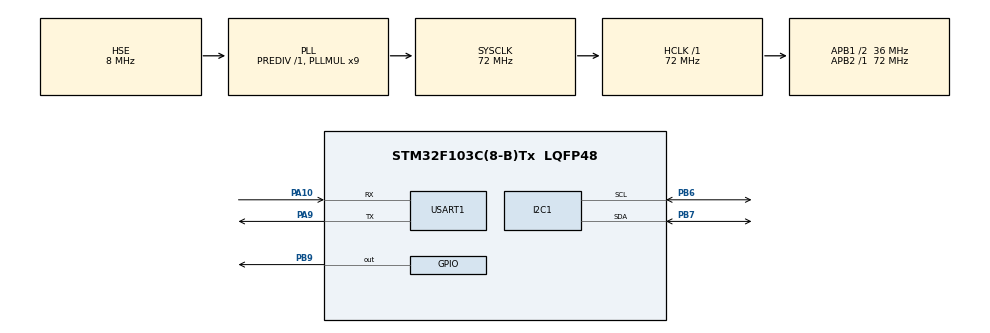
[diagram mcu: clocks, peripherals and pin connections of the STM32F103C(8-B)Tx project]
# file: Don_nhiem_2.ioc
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Mcu.Family=STM32F1
Mcu.Name=STM32F103C(8-B)Tx
Mcu.Package=LQFP48
NVIC.PriorityGroup=NVIC_PRIORITYGROUP_4
NVIC.USART1_IRQn=true\:0\:0\:false\:false\:true\:true\:true\:true
PA10.Mode=Asynchronous
PA10.Signal=USART1_RX
PA13.Mode=Serial_Wire
PA13.Signal=SYS_JTMS-SWDIO
PA14.Mode=Serial_Wire
PA14.Signal=SYS_JTCK-SWCLK
PA9.Mode=Asynchronous
PA9.Signal=USART1_TX
PB6.Mode=I2C
PB6.Signal=I2C1_SCL
PB7.Mode=I2C
PB7.Signal=I2C1_SDA
PB9.Signal=GPIO_Output
PD0-OSC_IN.Mode=HSE-External-Oscillator
PD0-OSC_IN.Signal=RCC_OSC_IN
PD1-OSC_OUT.Mode=HSE-External-Oscillator
PD1-OSC_OUT.Signal=RCC_OSC_OUT
ProjectManager.HeapSize=0x200
ProjectManager.StackSize=0x400
ProjectManager.TargetToolchain=STM32CubeIDE
RCC.AHBFreq_Value=72000000
RCC.APB1CLKDivider=RCC_HCLK_DIV2
RCC.APB1Freq_Value=36000000
RCC.APB1TimFreq_Value=72000000
RCC.APB2Freq_Value=72000000
RCC.APB2TimFreq_Value=72000000
RCC.HCLKFreq_Value=72000000
RCC.PLLMUL=RCC_PLL_MUL9
RCC.PLLSourceVirtual=RCC_PLLSOURCE_HSE
RCC.SYSCLKFreq_VALUE=72000000
RCC.SYSCLKSource=RCC_SYSCLKSOURCE_PLLCLK
RCC.USBFreq_Value=72000000
TIM1.Prescaler=71
USART1.VirtualMode=VM_ASYNC
VP_TIM1_VS_ClockSourceINT.Mode=Internal
board=custom

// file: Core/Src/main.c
/* USER CODE BEGIN Header */
/**
  ******************************************************************************
  * @file           : main.c
  * @brief          : Main program body
  ******************************************************************************
  * @attention
  *
  * Copyright (c) 2025 STMicroelectronics.
  * All rights reserved.
  *
  * This software is licensed under terms that can be found in the LICENSE file
  * in the root directory of this software component.
  * If no LICENSE file comes with this software, it is provided AS-IS.
  *
  ******************************************************************************
  */
/* USER CODE END Header */
#include "main.h"
#include "ssd1306.h"
#include "fonts.h"
#include "stdio.h"

/* USER CODE BEGIN Includes */
char u8_RxBuff[20];
uint8_t u8_RxData;
uint8_t u8_TxBuff[20];
uint8_t _rxIndex;
uint16_t Tx_FLag = 0;
/* USER CODE END Includes */

I2C_HandleTypeDef hi2c1;

TIM_HandleTypeDef htim1;

UART_HandleTypeDef huart1;

void SystemClock_Config(void);
static void MX_GPIO_Init(void);
static void MX_I2C1_Init(void);
static void MX_USART1_UART_Init(void);
static void MX_TIM1_Init(void);

/* USER CODE BEGIN 0 */

#define DHT11_PORT GPIOB
#define DHT11_PIN GPIO_PIN_9
uint8_t RHI, RHD, TCI, TCD, SUM;
uint32_t pMillis, cMillis;
float temp = 0;
float humi = 0;

char strCopy[20];

void microDelay (uint16_t delay)
{
  __HAL_TIM_SET_COUNTER(&htim1, 0);
  while (__HAL_TIM_GET_COUNTER(&htim1) < delay);
}

uint8_t DHT11_Start (void)
{
  uint8_t Response = 0;
  GPIO_InitTypeDef GPIO_InitStructPrivate = {0};
  GPIO_InitStructPrivate.Pin = DHT11_PIN;
  GPIO_InitStructPrivate.Mode = GPIO_MODE_OUTPUT_PP;
  GPIO_InitStructPrivate.Speed = GPIO_SPEED_FREQ_LOW;
  GPIO_InitStructPrivate.Pull = GPIO_NOPULL;
  HAL_GPIO_Init(DHT11_PORT, &GPIO_InitStructPrivate); // set the pin as output
  HAL_GPIO_WritePin (DHT11_PORT, DHT11_PIN, 0);   // pull the pin low
  HAL_Delay(20);   // wait for 20ms
  HAL_GPIO_WritePin (DHT11_PORT, DHT11_PIN, 1);   // pull the pin high
  microDelay (30);   // wait for 30us
  GPIO_InitStructPrivate.Mode = GPIO_MODE_INPUT;
  GPIO_InitStructPrivate.Pull = GPIO_PULLUP;
  HAL_GPIO_Init(DHT11_PORT, &GPIO_InitStructPrivate); // set the pin as input
  microDelay (40);
  if (!(HAL_GPIO_ReadPin (DHT11_PORT, DHT11_PIN)))
  {
    microDelay (80);
    if ((HAL_GPIO_ReadPin (DHT11_PORT, DHT11_PIN))) Response = 1;
  }
  pMillis = HAL_GetTick();
  cMillis = HAL_GetTick();
  while ((HAL_GPIO_ReadPin (DHT11_PORT, DHT11_PIN)) && pMillis + 2 > cMillis)
  {
    cMillis = HAL_GetTick();
  }
  return Response;
}

uint8_t DHT11_Read (void)
{
  uint8_t a,b;
  for (a=0;a<8;a++)
  {
    pMillis = HAL_GetTick();
    cMillis = HAL_GetTick();
    while (!(HAL_GPIO_ReadPin (DHT11_PORT, DHT11_PIN)) && pMillis + 2 > cMillis)
    {  // wait for the pin to go high
      cMillis = HAL_GetTick();
    }
    microDelay (40);   // wait for 40 us
    if (!(HAL_GPIO_ReadPin (DHT11_PORT, DHT11_PIN)))   // if the pin is low
      b&= ~(1<<(7-a));
    else
      b|= (1<<(7-a));
    pMillis = HAL_GetTick();
    cMillis = HAL_GetTick();
    while ((HAL_GPIO_ReadPin (DHT11_PORT, DHT11_PIN)) && pMillis + 2 > cMillis)
    {  // wait for the pin to go low
      cMillis = HAL_GetTick();
    }
  }
  return b;
}
void DO_NHIET_DO(void)
{
	 if(DHT11_Start())
		      {
		        RHI = DHT11_Read(); // Relative humidity integral
		        RHD = DHT11_Read(); // Relative humidity decimal
		        TCI = DHT11_Read(); // Celsius integral
		        TCD = DHT11_Read(); // Celsius decimal
		        SUM = DHT11_Read(); // Check sum
		        if (RHI + RHD + TCI + TCD == SUM)
		        {

		         temp = (float)TCI + (float)(TCD/10.0);

}
		      }
}

void DO_DO_AM(void)
{
	 if(DHT11_Start())
		      {
		        RHI = DHT11_Read(); // Relative humidity integral
		        RHD = DHT11_Read(); // Relative humidity decimal
		        TCI = DHT11_Read(); // Celsius integral
		        TCD = DHT11_Read(); // Celsius decimal
		        SUM = DHT11_Read(); // Check sum
		       if (RHI + RHD + TCI + TCD == SUM)
		       		        {
		          humi = (float)RHI + (float)(RHD/10.0);
}
		      }
}
void HIEN_THI_OLED()
{
	              SSD1306_Clear();
	              sprintf(strCopy,"TEMP :%.1f C  ", temp);
		          SSD1306_GotoXY (0, 0);
		          SSD1306_Puts (strCopy, &Font_7x10, 1);
		          sprintf(strCopy,"HUMI :%.1f %%  ",humi);
		          SSD1306_GotoXY (0, 30);
		          SSD1306_Puts (strCopy, &Font_7x10, 1);
		          SSD1306_UpdateScreen();
}
void TRUYEN_UART()
{
    char buffer[100];

    snprintf(buffer, sizeof(buffer), "Temperature: %.1f C, Humidity: %.1f %%\r\n", temp,humi);

    if (HAL_UART_Transmit(&huart1, (uint8_t*)buffer, strlen(buffer), HAL_MAX_DELAY) != HAL_OK)
    {

        Error_Handler();
    }
}

void HAL_UART_RxCpltCallback(UART_HandleTypeDef *huart)
{
    if (huart->Instance == USART1)
    {
        if (u8_RxData != 13)
        {
           u8_RxBuff[_rxIndex++] = u8_RxData;
        }
        else if(u8_RxData == 13)
        {
        	 u8_RxBuff[_rxIndex] = '\0';
            Tx_FLag = 1;
            _rxIndex = 0;
        }
        HAL_UART_Receive_IT(&huart1, &u8_RxData, 1);
    }
}
/* USER CODE END 0 */

int main(void)
{
//	DHT11_Start ();

  /* MCU Configuration--------------------------------------------------------*/

  /* Reset of all peripherals, Initializes the Flash interface and the Systick. */
  HAL_Init();

  /* Configure the system clock */
  SystemClock_Config();

  /* Initialize all configured peripherals */
  MX_GPIO_Init();
  MX_I2C1_Init();
  MX_USART1_UART_Init();
  MX_TIM1_Init();
  /* USER CODE BEGIN 2 */
  HAL_TIM_Base_Start(&htim1);
      SSD1306_Init();

  HAL_UART_Transmit(&huart1, u8_TxBuff, sizeof(u8_TxBuff),100);
  HAL_UART_Receive_IT(&huart1, &u8_RxData,1);

  /* USER CODE END 2 */

  /* Infinite loop */
  /* USER CODE BEGIN WHILE */

  DO_NHIET_DO();
  DO_DO_AM();

  while (1)
  {
    /* USER CODE END WHILE */
	  if (Tx_FLag)
	  	         {
		  if (strcmp(u8_RxBuff, "TEMP") == 0) // Lệnh đo nhiệt độ
		          {
		              DO_NHIET_DO(); // Đọc nhiệt độ

		          }
		          else if (strcmp(u8_RxBuff, "HUMI") == 0) // Lệnh đo độ ẩm
		          {
		              DO_DO_AM(); // Đọc độ ẩm
		            ;
		          }
		          else if (strcmp(u8_RxBuff, "OLED") == 0) // Lệnh đo độ ẩm
		          {
		        	  HIEN_THI_OLED();

		          }
		          else if (strcmp(u8_RxBuff, "UART") == 0) // Lệnh đo độ ẩm
		          {
		        	  TRUYEN_UART(); // Gửi độ ẩm qua UART
		          }
		          else // Lệnh không hợp lệ
		          {
		              char invalidMsg[] = "Invalid Command\r\n";
		              HAL_UART_Transmit(&huart1, (uint8_t*)invalidMsg, strlen(invalidMsg), HAL_MAX_DELAY);
		          }
		        Tx_FLag = 0; // Reset cờ lệnh
	  	     }

}
}
void SystemClock_Config(void)
{
  RCC_OscInitTypeDef RCC_OscInitStruct = {0};
  RCC_ClkInitTypeDef RCC_ClkInitStruct = {0};

  /** Initializes the RCC Oscillators according to the specified parameters
  * in the RCC_OscInitTypeDef structure.
  */
  RCC_OscInitStruct.OscillatorType = RCC_OSCILLATORTYPE_HSE;
  RCC_OscInitStruct.HSEState = RCC_HSE_ON;
  RCC_OscInitStruct.HSEPredivValue = RCC_HSE_PREDIV_DIV1;
  RCC_OscInitStruct.HSIState = RCC_HSI_ON;
  RCC_OscInitStruct.PLL.PLLState = RCC_PLL_ON;
  RCC_OscInitStruct.PLL.PLLSource = RCC_PLLSOURCE_HSE;
  RCC_OscInitStruct.PLL.PLLMUL = RCC_PLL_MUL9;
  if (HAL_RCC_OscConfig(&RCC_OscInitStruct) != HAL_OK)
  {
    Error_Handler();
  }

  /** Initializes the CPU, AHB and APB buses clocks
  */
  RCC_ClkInitStruct.ClockType = RCC_CLOCKTYPE_HCLK|RCC_CLOCKTYPE_SYSCLK
                              |RCC_CLOCKTYPE_PCLK1|RCC_CLOCKTYPE_PCLK2;
  RCC_ClkInitStruct.SYSCLKSource = RCC_SYSCLKSOURCE_PLLCLK;
  RCC_ClkInitStruct.AHBCLKDivider = RCC_SYSCLK_DIV1;
  RCC_ClkInitStruct.APB1CLKDivider = RCC_HCLK_DIV2;
  RCC_ClkInitStruct.APB2CLKDivider = RCC_HCLK_DIV1;

  if (HAL_RCC_ClockConfig(&RCC_ClkInitStruct, FLASH_LATENCY_2) != HAL_OK)
  {
    Error_Handler();
  }
}

static void MX_I2C1_Init(void)
{

  hi2c1.Instance = I2C1;
  hi2c1.Init.ClockSpeed = 400000;
  hi2c1.Init.DutyCycle = I2C_DUTYCYCLE_2;
  hi2c1.Init.OwnAddress1 = 0;
  hi2c1.Init.AddressingMode = I2C_ADDRESSINGMODE_7BIT;
  hi2c1.Init.DualAddressMode = I2C_DUALADDRESS_DISABLE;
  hi2c1.Init.OwnAddress2 = 0;
  hi2c1.Init.GeneralCallMode = I2C_GENERALCALL_DISABLE;
  hi2c1.Init.NoStretchMode = I2C_NOSTRETCH_DISABLE;
  if (HAL_I2C_Init(&hi2c1) != HAL_OK)
  {
    Error_Handler();
  }

}

static void MX_TIM1_Init(void)
{

  TIM_ClockConfigTypeDef sClockSourceConfig = {0};
  TIM_MasterConfigTypeDef sMasterConfig = {0};

  htim1.Instance = TIM1;
  htim1.Init.Prescaler = 71;
  htim1.Init.CounterMode = TIM_COUNTERMODE_UP;
  htim1.Init.Period = 65535;
  htim1.Init.ClockDivision = TIM_CLOCKDIVISION_DIV1;
  htim1.Init.RepetitionCounter = 0;
  htim1.Init.AutoReloadPreload = TIM_AUTORELOAD_PRELOAD_DISABLE;
  if (HAL_TIM_Base_Init(&htim1) != HAL_OK)
  {
    Error_Handler();
  }
  sClockSourceConfig.ClockSource = TIM_CLOCKSOURCE_INTERNAL;
  if (HAL_TIM_ConfigClockSource(&htim1, &sClockSourceConfig) != HAL_OK)
  {
    Error_Handler();
  }
  sMasterConfig.MasterOutputTrigger = TIM_TRGO_RESET;
  sMasterConfig.MasterSlaveMode = TIM_MASTERSLAVEMODE_DISABLE;
  if (HAL_TIMEx_MasterConfigSynchronization(&htim1, &sMasterConfig) != HAL_OK)
  {
    Error_Handler();
  }

}

static void MX_USART1_UART_Init(void)
{

  huart1.Instance = USART1;
  huart1.Init.BaudRate = 115200;
  huart1.Init.WordLength = UART_WORDLENGTH_8B;
  huart1.Init.StopBits = UART_STOPBITS_1;
  huart1.Init.Parity = UART_PARITY_NONE;
  huart1.Init.Mode = UART_MODE_TX_RX;
  huart1.Init.HwFlowCtl = UART_HWCONTROL_NONE;
  huart1.Init.OverSampling = UART_OVERSAMPLING_16;
  if (HAL_UART_Init(&huart1) != HAL_OK)
  {
    Error_Handler();
  }

}

static void MX_GPIO_Init(void)
{
  GPIO_InitTypeDef GPIO_InitStruct = {0};

  /* GPIO Ports Clock Enable */
  __HAL_RCC_GPIOD_CLK_ENABLE();
  __HAL_RCC_GPIOA_CLK_ENABLE();
  __HAL_RCC_GPIOB_CLK_ENABLE();

  /*Configure GPIO pin Output Level */
  HAL_GPIO_WritePin(GPIOB, GPIO_PIN_9, GPIO_PIN_RESET);

  /*Configure GPIO pin : PB9 */
  GPIO_InitStruct.Pin = GPIO_PIN_9;
  GPIO_InitStruct.Mode = GPIO_MODE_OUTPUT_PP;
  GPIO_InitStruct.Pull = GPIO_NOPULL;
  GPIO_InitStruct.Speed = GPIO_SPEED_FREQ_LOW;
  HAL_GPIO_Init(GPIOB, &GPIO_InitStruct);

}

void Error_Handler(void)
{
  __disable_irq();
  while (1)
  {
  }
}
